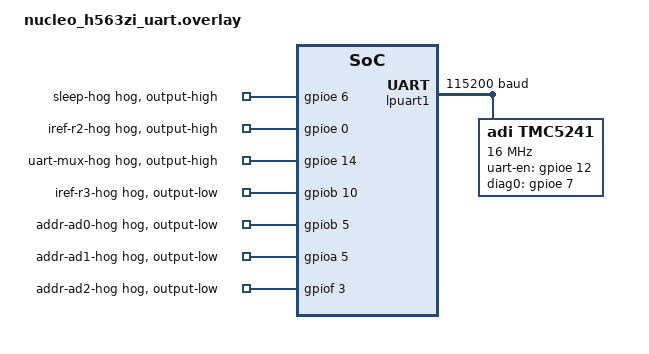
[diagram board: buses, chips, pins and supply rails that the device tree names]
/*
 * SPDX-FileCopyrightText: Copyright (c) 2026
 * SPDX-License-Identifier: Apache-2.0
 *
 * TMC5241-EVKIT on the Nucleo-H563ZI through the "Sternbruecke Nucleo V0.1"
 * adapter, talking single-wire UART instead of SPI. Use it in place of the
 * default overlay:
 *   west build -b nucleo_h563zi samples/drivers/stepper/tmc5241
 *       -- -DDTC_OVERLAY_FILE=boards/nucleo_h563zi_uart.overlay
 *
 * The EVKIT ties UART_TX to DIAG1/SW through 1 kOhm, so the host reads back
 * its own bytes (the driver checks that echo) and then the chip's reply.
 *   Eval J201 pin 21 UART_TX -> mux U204 -> Nucleo D1 -> PB6 (LPUART1_TX)
 *   Eval J201 pin 22 DIAG1/UART_RX -> mux U204 -> Nucleo D0 -> PB7 (LPUART1_RX)
 * The U204 mux select (Nucleo D4 = PE14) must be high to pick the UART path
 * (measured on the bench: with D4 low PB7 never follows PB6).
 *
 * In UART mode the SPI pins become the node address (CSN/SCK/SDI = AD2/AD1/AD0)
 * and the chip's NODEADDR resets to 0, so the three Nucleo pins are driven low
 * (D8 = PF3, D13 = PA5, D11 = PB5) for address 0. SPI1 is disabled so it
 * does not take those pins back.
 *   UART_EN (PE12) high - UART mode, set by the driver (uart-en-gpios)
 *   SLEEPN  (PE6)  high
 */

/ {
	aliases {
		stepper-driver = &tmc5241_stepper_driver;
		stepper-ctrl = &tmc5241_motion_controller;
	};
};

&gpioe {
	sleep-hog {
		gpio-hog;
		gpios = <6 GPIO_ACTIVE_HIGH>;
		output-high;
	};

	iref-r2-hog {
		gpio-hog;
		gpios = <0 GPIO_ACTIVE_HIGH>;
		output-high;
	};

	uart-mux-hog {
		gpio-hog;
		gpios = <14 GPIO_ACTIVE_HIGH>; /* Nucleo D4, high = UART path (checked on the bench) */
		output-high;
	};
};

&gpiob {
	iref-r3-hog {
		gpio-hog;
		gpios = <10 GPIO_ACTIVE_HIGH>;
		output-low;
	};

	addr-ad0-hog {
		gpio-hog;
		gpios = <5 GPIO_ACTIVE_HIGH>; /* SDI/AD0 = D11 */
		output-low;
	};
};

&gpioa {
	addr-ad1-hog {
		gpio-hog;
		gpios = <5 GPIO_ACTIVE_HIGH>; /* SCK/AD1 = D13 */
		output-low;
	};
};

&gpiof {
	addr-ad2-hog {
		gpio-hog;
		gpios = <3 GPIO_ACTIVE_HIGH>; /* CSN/AD2 = D8 */
		output-low;
	};
};

&spi1 {
	status = "disabled";
};

&lpuart1 {
	current-speed = <115200>;
	status = "okay";

	tmc5241: tmc5241 {
		compatible = "adi,tmc5241";
		uart-device-addr = <0>;
		uart-en-gpios = <&gpioe 12 GPIO_ACTIVE_HIGH>; /* UART_EN high = UART mode */

		/* Sternbruecke Y201 XTAL OSC */
		clock-frequency = <16000000>;
		diag0-gpios = <&gpioe 7 GPIO_ACTIVE_HIGH>;

		tmc5241_stepper_driver: stepper-driver {
			compatible = "adi,tmc5241-stepper-driver";
			en-gpios = <&gpioa 3 GPIO_ACTIVE_LOW>; /* DRV_ENN active-low */
			micro-step-res = <256>;
			stallguard2-threshold = <4>;
		};

		tmc5241_motion_controller: stepper-ctrl {
			compatible = "adi,tmc5241-stepper-ctrl";
			vstart = <100>;
			vstop = <200>;
			a1 = <3000>;
			v1 = <50000>;
			d1 = <3000>;
			vmax = <100000>;
			amax = <3000>;
			dmax = <3000>;
			tzerowait = <100>;
			thigh = <0>;
			tcoolthrs = <200>;
			ihold = <1>;
			irun = <10>;
			iholddelay = <1>;
		};
	};
};
